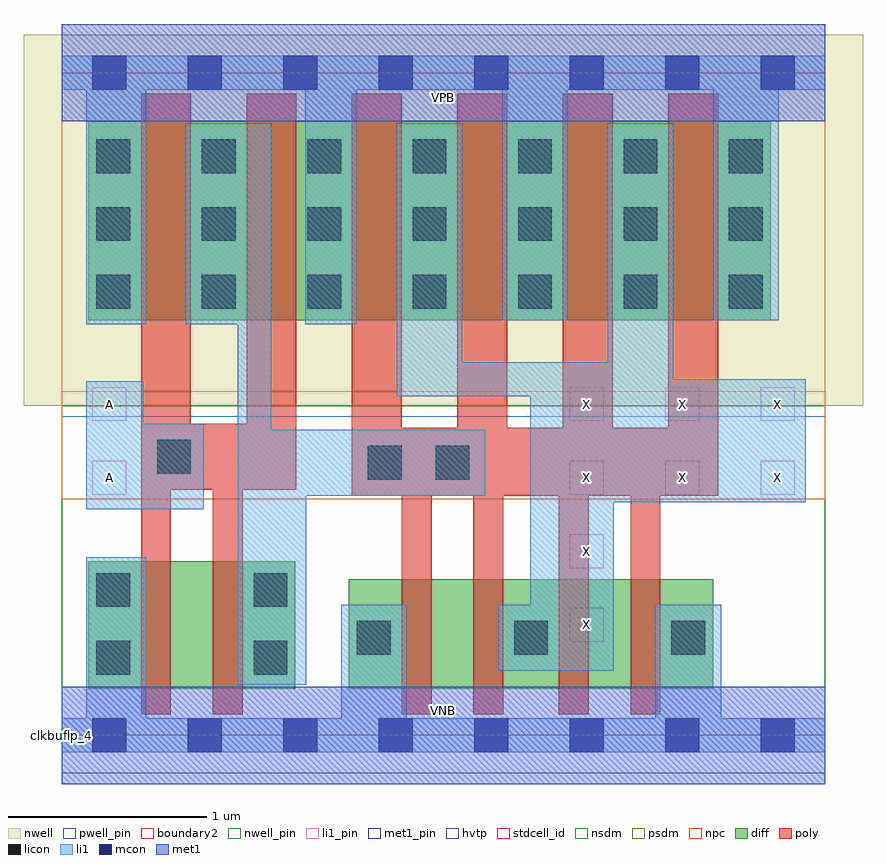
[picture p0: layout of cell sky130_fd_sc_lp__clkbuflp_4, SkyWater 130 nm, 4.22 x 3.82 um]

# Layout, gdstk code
import gdstk
lib = gdstk.Library(unit=1e-6, precision=1e-09)
def R(c, l, rs):  # rectangles x0, y0, x1, y1
    for r in rs: c.add(gdstk.rectangle(r[:2], r[2:], *l))
def A(c, l, x, y, w, h, nx, ny, dx, dy):  # array of equal rectangles
    R(c, l, [(x+i*dx, y+j*dy, x+i*dx+w, y+j*dy+h) for i in range(nx) for j in range(ny)])
def P(c, l, *ps):  # polygons
    for p in ps: c.add(gdstk.Polygon(p, *l))
nwell_pin = (64, 16)
nwell = (64, 20)
diff = (65, 20)
poly = (66, 20)
licon = (66, 44)
li1_pin = (67, 16)
li1 = (67, 20)
mcon = (67, 44)
met1_pin = (68, 16)
met1 = (68, 20)
hvtp = (78, 44)
stdcell_id = (81, 4)
nsdm = (93, 44)
psdm = (94, 20)
npc = (95, 20)
pwell_pin = (122, 16)
boundary2 = (236, 0)

sky130_fd_sc_lp__clkbufl = lib.new_cell('sky130_fd_sc_lp__clkbuflp_4')
R(sky130_fd_sc_lp__clkbufl, nwell_pin, [(0,3.085,3.84,3.33)])
R(sky130_fd_sc_lp__clkbufl, nwell, [(-0.19,1.655,4.03,3.52)])
R(sky130_fd_sc_lp__clkbufl, diff, [(0.135,0.235,1.175,0.875), (1.445,0.235,3.275,0.785), (0.135,2.085,3.565,3.085)])
P(sky130_fd_sc_lp__clkbufl, poly, [(1.18,3.225),(0.93,3.225),(0.93,1.565),(0.65,1.565),(0.65,3.225),(0.4,3.225),(0.4,0.105),(0.55,0.105),(0.55,1.235),(0.76,1.235),(0.76,0.105),(0.91,0.105),(0.91,1.235),(1.18,1.235)],
  [(3.3,3.225),(3.05,3.225),(3.05,1.545),(2.77,1.545),(2.77,3.225),(2.52,3.225),(2.52,1.545),(2.24,1.545),(2.24,3.225),(1.99,3.225),(1.99,1.545),(1.71,1.545),(1.71,3.225),(1.46,3.225),(1.46,1.205),(1.71,1.205),(1.71,0.105),(1.86,0.105),(1.86,1.205),(2.07,1.205),(2.07,0.105),(2.22,0.105),(2.22,1.205),(2.5,1.205),(2.5,0.105),(2.65,0.105),(2.65,1.205),(2.86,1.205),(2.86,0.105),(3.01,0.105),(3.01,1.205),(3.3,1.205)])
A(sky130_fd_sc_lp__clkbufl, licon, 1.485, 0.405, 0.17, 0.17, 3, 1, 0.79, 0)
A(sky130_fd_sc_lp__clkbufl, licon, 0.175, 2.145, 0.17, 0.17, 7, 3, 0.53, 0.34)
R(sky130_fd_sc_lp__clkbufl, licon, [(0.175,0.305,0.345,0.475), (0.965,0.305,1.135,0.475), (0.175,0.645,0.345,0.815), (0.965,0.645,1.135,0.815), (1.54,1.285,1.71,1.455), (1.88,1.285,2.05,1.455), (0.48,1.315,0.65,1.485)])
A(sky130_fd_sc_lp__clkbufl, li1_pin, 2.555, 1.21, 0.17, 0.17, 3, 2, 0.48, 0.37)
R(sky130_fd_sc_lp__clkbufl, li1_pin, [(2.555,0.47,2.725,0.64), (2.555,0.84,2.725,1.01), (0.155,1.21,0.325,1.38), (0.155,1.58,0.325,1.75)])
P(sky130_fd_sc_lp__clkbufl, li1, [(0.715,1.565),(0.41,1.565),(0.41,1.78),(0.125,1.78),(0.125,1.135),(0.715,1.135)],
  [(2.13,1.535),(1.055,1.535),(1.055,3.075),(0.625,3.075),(0.625,2.065),(0.885,2.065),(0.885,0.255),(1.23,0.255),(1.23,1.205),(2.13,1.205)],
  [(3.74,1.79),(3.075,1.79),(3.075,3.075),(2.745,3.075),(2.745,1.875),(2.015,1.875),(2.015,3.075),(1.685,3.075),(1.685,1.705),(2.355,1.705),(2.355,0.655),(2.195,0.655),(2.195,0.325),(2.775,0.325),(2.775,1.17),(3.74,1.17)],
  [(3.84,3.415),(0,3.415),(0,3.245),(0.125,3.245),(0.125,2.065),(0.425,2.065),(0.425,3.245),(1.225,3.245),(1.225,2.065),(1.485,2.065),(1.485,3.245),(2.215,3.245),(2.215,2.085),(2.545,2.085),(2.545,3.245),(3.275,3.245),(3.275,2.085),(3.605,2.085),(3.605,3.245),(3.84,3.245)],
  [(3.84,0.085),(3.315,0.085),(3.315,0.655),(2.985,0.655),(2.985,0.085),(1.735,0.085),(1.735,0.655),(1.405,0.655),(1.405,0.085),(0.425,0.085),(0.425,0.895),(0.125,0.895),(0.125,0.085),(0,0.085),(0,-0.085),(3.84,-0.085)])
A(sky130_fd_sc_lp__clkbufl, mcon, 0.155, -0.085, 0.17, 0.17, 8, 2, 0.48, 3.33)
R(sky130_fd_sc_lp__clkbufl, met1_pin, [(0,0,3.84,0.245), (0,3.085,3.84,3.33)])
R(sky130_fd_sc_lp__clkbufl, met1, [(0,-0.245,3.84,0.245), (0,3.085,3.84,3.575)])
R(sky130_fd_sc_lp__clkbufl, hvtp, [(0,1.6,3.84,3.33)])
R(sky130_fd_sc_lp__clkbufl, stdcell_id, [(0,0,3.84,3.33)])
R(sky130_fd_sc_lp__clkbufl, nsdm, [(0,-0.19,3.84,1.655)])
R(sky130_fd_sc_lp__clkbufl, psdm, [(0,1.655,3.84,3.52)])
R(sky130_fd_sc_lp__clkbufl, npc, [(0,1.185,3.84,1.73)])
R(sky130_fd_sc_lp__clkbufl, pwell_pin, [(0,0,3.84,0.245)])
R(sky130_fd_sc_lp__clkbufl, boundary2, [(0,0,3.84,3.33)])
sky130_fd_sc_lp__clkbufl.add(gdstk.Label('VNB', (1.92,0.123), layer=64, texttype=59))
sky130_fd_sc_lp__clkbufl.add(gdstk.Label('VPB', (1.92,3.208), layer=64, texttype=5))
sky130_fd_sc_lp__clkbufl.add(gdstk.Label('clkbuflp_4', (0,0), layer=83, texttype=44))
sky130_fd_sc_lp__clkbufl.add(gdstk.Label('VPWR', (1.92,3.208), layer=68, texttype=5))
sky130_fd_sc_lp__clkbufl.add(gdstk.Label('VGND', (1.92,0.123), layer=68, texttype=5))
sky130_fd_sc_lp__clkbufl.add(gdstk.Label('X', (2.64,0.555), layer=67, texttype=5))
sky130_fd_sc_lp__clkbufl.add(gdstk.Label('A', (0.24,1.665), layer=67, texttype=5))
sky130_fd_sc_lp__clkbufl.add(gdstk.Label('X', (3.6,1.665), layer=67, texttype=5))
sky130_fd_sc_lp__clkbufl.add(gdstk.Label('A', (0.24,1.295), layer=67, texttype=5))
sky130_fd_sc_lp__clkbufl.add(gdstk.Label('X', (2.64,1.665), layer=67, texttype=5))
sky130_fd_sc_lp__clkbufl.add(gdstk.Label('X', (2.64,1.295), layer=67, texttype=5))
sky130_fd_sc_lp__clkbufl.add(gdstk.Label('X', (2.64,0.925), layer=67, texttype=5))
sky130_fd_sc_lp__clkbufl.add(gdstk.Label('X', (3.6,1.295), layer=67, texttype=5))
sky130_fd_sc_lp__clkbufl.add(gdstk.Label('X', (3.12,1.665), layer=67, texttype=5))
sky130_fd_sc_lp__clkbufl.add(gdstk.Label('X', (3.12,1.295), layer=67, texttype=5))

lib.write_gds('sky130_fd_sc_lp__clkbuflp_4.gds')
